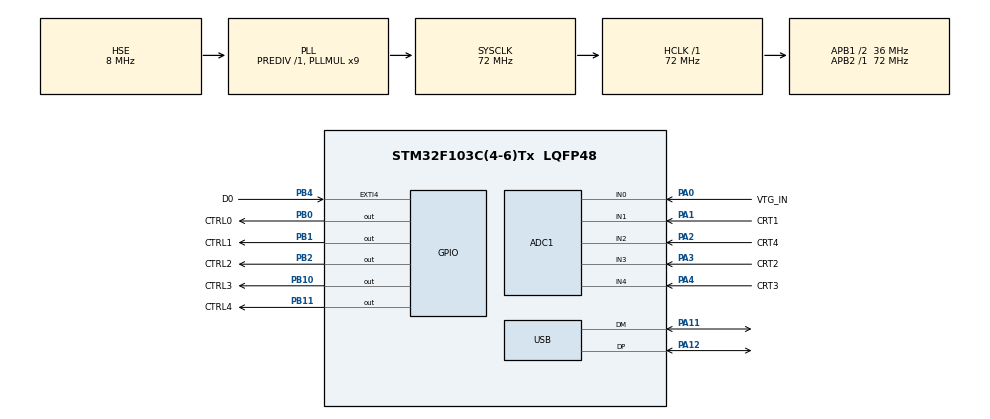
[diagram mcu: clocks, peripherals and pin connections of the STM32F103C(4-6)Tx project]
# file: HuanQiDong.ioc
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ADC1.Channel-0\#ChannelRegularConversion=ADC_CHANNEL_0
ADC1.Channel-1\#ChannelRegularConversion=ADC_CHANNEL_1
ADC1.Channel-2\#ChannelRegularConversion=ADC_CHANNEL_2
ADC1.Channel-3\#ChannelRegularConversion=ADC_CHANNEL_3
ADC1.Channel-4\#ChannelRegularConversion=ADC_CHANNEL_4
ADC1.ContinuousConvMode=ENABLE
ADC1.DataAlign=ADC_DATAALIGN_RIGHT
ADC1.NbrOfConversion=5
ADC1.NbrOfConversionFlag=1
ADC1.Rank-0\#ChannelRegularConversion=1
ADC1.Rank-1\#ChannelRegularConversion=2
ADC1.Rank-2\#ChannelRegularConversion=3
ADC1.Rank-3\#ChannelRegularConversion=4
ADC1.Rank-4\#ChannelRegularConversion=5
ADC1.SamplingTime-0\#ChannelRegularConversion=ADC_SAMPLETIME_13CYCLES_5
ADC1.SamplingTime-1\#ChannelRegularConversion=ADC_SAMPLETIME_13CYCLES_5
ADC1.SamplingTime-2\#ChannelRegularConversion=ADC_SAMPLETIME_13CYCLES_5
ADC1.SamplingTime-3\#ChannelRegularConversion=ADC_SAMPLETIME_13CYCLES_5
ADC1.SamplingTime-4\#ChannelRegularConversion=ADC_SAMPLETIME_13CYCLES_5
ADC1.master=1
Dma.ADC1.0.Direction=DMA_PERIPH_TO_MEMORY
Dma.ADC1.0.Instance=DMA1_Channel1
Dma.ADC1.0.MemDataAlignment=DMA_MDATAALIGN_HALFWORD
Dma.ADC1.0.MemInc=DMA_MINC_ENABLE
Dma.ADC1.0.Mode=DMA_CIRCULAR
Dma.ADC1.0.PeriphDataAlignment=DMA_PDATAALIGN_HALFWORD
Dma.ADC1.0.PeriphInc=DMA_PINC_DISABLE
Dma.ADC1.0.Priority=DMA_PRIORITY_HIGH
Dma.Request0=ADC1
Mcu.Family=STM32F1
Mcu.Name=STM32F103C(4-6)Tx
Mcu.Package=LQFP48
NVIC.DMA1_Channel1_IRQn=true\:0\:0\:false\:false\:true\:false\:true\:true
NVIC.EXTI4_IRQn=true\:0\:0\:false\:false\:true\:true\:true\:true
NVIC.PriorityGroup=NVIC_PRIORITYGROUP_4
NVIC.TIM2_IRQn=true\:0\:0\:false\:false\:true\:true\:true\:true
PA0-WKUP.GPIO_Label=VTG_IN
PA0-WKUP.Signal=ADCx_IN0
PA1.GPIO_Label=CRT1
PA1.Signal=ADCx_IN1
PA11.Mode=Device
PA11.Signal=USB_DM
PA12.Mode=Device
PA12.Signal=USB_DP
PA13.Mode=Serial_Wire
PA13.Signal=SYS_JTMS-SWDIO
PA14.Mode=Serial_Wire
PA14.Signal=SYS_JTCK-SWCLK
PA2.GPIO_Label=CRT4
PA2.Signal=ADCx_IN2
PA3.GPIO_Label=CRT2
PA3.Signal=ADCx_IN3
PA4.GPIO_Label=CRT3
PA4.Signal=ADCx_IN4
PB0.GPIO_Label=CTRL0
PB0.Signal=GPIO_Output
PB1.GPIO_Label=CTRL1
PB1.Signal=GPIO_Output
PB10.GPIO_Label=CTRL3
PB10.Signal=GPIO_Output
PB11.GPIO_Label=CTRL4
PB11.Signal=GPIO_Output
PB2.GPIO_Label=CTRL2
PB2.Signal=GPIO_Output
PB4.GPIO_Label=D0
PB4.GPIO_ModeDefaultEXTI=GPIO_MODE_IT_RISING_FALLING
PB4.GPIO_PuPd=GPIO_PULLDOWN
PB4.Signal=GPXTI4
PD0-OSC_IN.Mode=HSE-External-Oscillator
PD0-OSC_IN.Signal=RCC_OSC_IN
PD1-OSC_OUT.Mode=HSE-External-Oscillator
PD1-OSC_OUT.Signal=RCC_OSC_OUT
ProjectManager.HeapSize=0x200
ProjectManager.StackSize=0x400
ProjectManager.TargetToolchain=CMake
RCC.ADCPresc=RCC_ADCPCLK2_DIV6
RCC.AHBFreq_Value=72000000
RCC.APB1CLKDivider=RCC_HCLK_DIV2
RCC.APB1Freq_Value=36000000
RCC.APB1TimFreq_Value=72000000
RCC.APB2Freq_Value=72000000
RCC.APB2TimFreq_Value=72000000
RCC.HCLKFreq_Value=72000000
RCC.PLLMUL=RCC_PLL_MUL9
RCC.SYSCLKFreq_VALUE=72000000
RCC.SYSCLKSource=RCC_SYSCLKSOURCE_PLLCLK
RCC.USBFreq_Value=48000000
RCC.USBPrescaler=RCC_USBCLKSOURCE_PLL_DIV1_5
SH.ADCx_IN0.0=ADC1_IN0,IN0
SH.ADCx_IN1.0=ADC1_IN1,IN1
SH.ADCx_IN2.0=ADC1_IN2,IN2
SH.ADCx_IN3.0=ADC1_IN3,IN3
SH.ADCx_IN4.0=ADC1_IN4,IN4
TIM2.Period=999
TIM2.Prescaler=7199
VP_TIM2_VS_ClockSourceINT.Mode=Internal
board=custom

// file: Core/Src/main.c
/* USER CODE BEGIN Header */
/**
 ******************************************************************************
 * @file           : main.c
 * @brief          : Main program body
 ******************************************************************************
 * @attention
 *
 * Copyright (c) 2025 STMicroelectronics.
 * All rights reserved.
 *
 * This software is licensed under terms that can be found in the LICENSE file
 * in the root directory of this software component.
 * If no LICENSE file comes with this software, it is provided AS-IS.
 *
 ******************************************************************************
 */
/* USER CODE END Header */
#include "main.h"
#include "adc.h"
#include "dma.h"
#include "gpio.h"
#include "tim.h"
#include "usb.h"

/* USER CODE BEGIN Includes */
#include "mos.h"
/* USER CODE END Includes */

void SystemClock_Config(void);

/* USER CODE BEGIN 0 */
volatile uint16_t adc_buf[5];
/* USER CODE END 0 */

int main(void) {

	/* MCU Configuration--------------------------------------------------------*/

	/* Reset of all peripherals, Initializes the Flash interface and the Systick. */
	HAL_Init();

	/* Configure the system clock */
	SystemClock_Config();

	/* Initialize all configured peripherals */
	MX_GPIO_Init();
	MX_DMA_Init();
	MX_ADC1_Init();
	MX_USB_PCD_Init();
	MX_TIM2_Init();
	/* USER CODE BEGIN 2 */
	HAL_ADCEx_Calibration_Start(&hadc1);
	HAL_ADC_Start_DMA(&hadc1, (uint32_t *) adc_buf, 5);
	/* USER CODE END 2 */

	/* Infinite loop */
	while (1) {

	}
}

void SystemClock_Config(void) {
	RCC_OscInitTypeDef RCC_OscInitStruct = {0};
	RCC_ClkInitTypeDef RCC_ClkInitStruct = {0};
	RCC_PeriphCLKInitTypeDef PeriphClkInit = {0};

	/** Initializes the RCC Oscillators according to the specified parameters
	 * in the RCC_OscInitTypeDef structure.
	 */
	RCC_OscInitStruct.OscillatorType = RCC_OSCILLATORTYPE_HSE;
	RCC_OscInitStruct.HSEState = RCC_HSE_ON;
	RCC_OscInitStruct.HSEPredivValue = RCC_HSE_PREDIV_DIV1;
	RCC_OscInitStruct.HSIState = RCC_HSI_ON;
	RCC_OscInitStruct.PLL.PLLState = RCC_PLL_ON;
	RCC_OscInitStruct.PLL.PLLSource = RCC_PLLSOURCE_HSE;
	RCC_OscInitStruct.PLL.PLLMUL = RCC_PLL_MUL9;
	if (HAL_RCC_OscConfig(&RCC_OscInitStruct) != HAL_OK) {
		Error_Handler();
	}

	/** Initializes the CPU, AHB and APB buses clocks
	 */
	RCC_ClkInitStruct.ClockType = RCC_CLOCKTYPE_HCLK | RCC_CLOCKTYPE_SYSCLK | RCC_CLOCKTYPE_PCLK1 | RCC_CLOCKTYPE_PCLK2;
	RCC_ClkInitStruct.SYSCLKSource = RCC_SYSCLKSOURCE_PLLCLK;
	RCC_ClkInitStruct.AHBCLKDivider = RCC_SYSCLK_DIV1;
	RCC_ClkInitStruct.APB1CLKDivider = RCC_HCLK_DIV2;
	RCC_ClkInitStruct.APB2CLKDivider = RCC_HCLK_DIV1;

	if (HAL_RCC_ClockConfig(&RCC_ClkInitStruct, FLASH_LATENCY_2) != HAL_OK) {
		Error_Handler();
	}
	PeriphClkInit.PeriphClockSelection = RCC_PERIPHCLK_ADC | RCC_PERIPHCLK_USB;
	PeriphClkInit.AdcClockSelection = RCC_ADCPCLK2_DIV6;
	PeriphClkInit.UsbClockSelection = RCC_USBCLKSOURCE_PLL_DIV1_5;
	if (HAL_RCCEx_PeriphCLKConfig(&PeriphClkInit) != HAL_OK) {
		Error_Handler();
	}
}

/* USER CODE BEGIN 4 */
void HAL_GPIO_EXTI_Callback(uint16_t GPIO_Pin) {
	if (GPIO_Pin == D0_Pin) {
		if (HAL_GPIO_ReadPin(D0_GPIO_Port, D0_Pin)) {
			ctrl_all_mos(MOS_OPEN);
		} else {
			ctrl_all_mos(MOS_CLOSE);
		}
	}
}

void HAL_TIM_PeriodElapsedCallback(TIM_HandleTypeDef *htim) {
	if (htim->Instance == TIM2) {
		check_all();
	}
}

#define adc_to_v(raw) (3.3f * raw / 4095.0f)
void HAL_ADC_ConvCpltCallback(ADC_HandleTypeDef *hadc) {
	if (hadc->Instance == ADC1) {
		state.vin = adc_to_v(adc_buf[0]) * 48.0f;
		state.i1 = adc_to_v(adc_buf[1]) * (state.vin / (51 * 0.001));
		state.i2 = adc_to_v(adc_buf[2]) * (state.vin / (51 * 0.001));
		state.i3 = adc_to_v(adc_buf[3]) * (state.vin / (51 * 0.001));
		state.i4 = adc_to_v(adc_buf[4]) * (state.vin / (51 * 0.001));
	}
}

/* USER CODE END 4 */

void Error_Handler(void) {
	__disable_irq();
	while (1) {
	}
}
#ifdef USE_FULL_ASSERT
/**
 * @brief  Reports the name of the source file and the source line number
 *         where the assert_param error has occurred.
 * @param  file: pointer to the source file name
 * @param  line: assert_param error line source number
 * @retval None
 */
void assert_failed(uint8_t *file, uint32_t line) {
	/* USER CODE BEGIN 6 */
	/* User can add his own implementation to report the file name and line
	   number, ex: printf("Wrong parameters value: file %s on line %d\r\n", file,
	   line) */
	/* USER CODE END 6 */
}
#endif /* USE_FULL_ASSERT */
